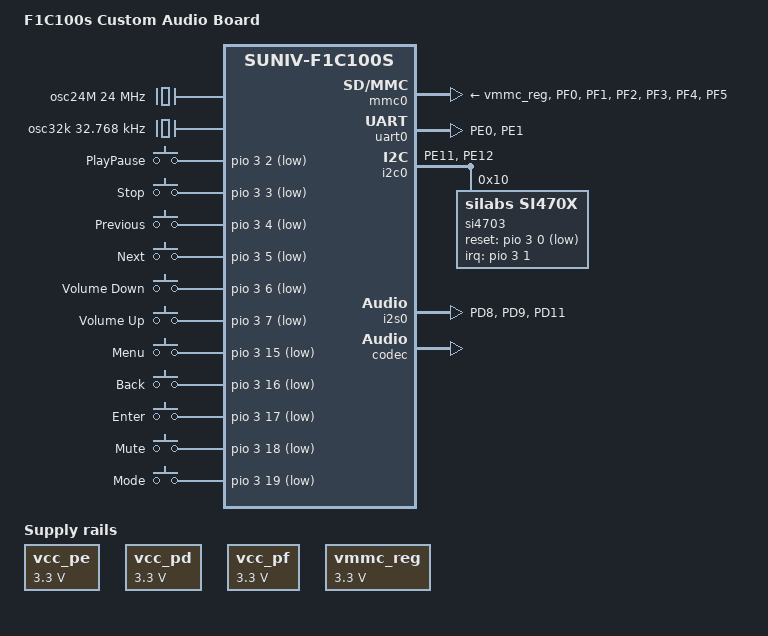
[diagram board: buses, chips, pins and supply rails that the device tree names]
/dts-v1/;
#include <dt-bindings/gpio/gpio.h>
#include <dt-bindings/input/input.h>
#include <dt-bindings/interrupt-controller/irq.h>
#include <dt-bindings/clock/suniv-ccu-f1c100s.h>
#include <dt-bindings/reset/suniv-ccu-f1c100s.h>
#include <dt-bindings/dma/sun4i-a10.h>


/ {
	model = "F1C100s Custom Audio Board";
	compatible = "custom,audio-board", "allwinner,suniv-f1c100s";
	#address-cells = <1>;
	#size-cells = <1>;
	interrupt-parent = <&intc>;

	aliases {
		serial0 = &uart0;
		i2c0 = &i2c0;
	};

	chosen {
		stdout-path = "serial0:115200n8";
	};

	clocks {
		osc24M: clk-24M {
			#clock-cells = <0>;
			compatible = "fixed-clock";
			clock-frequency = <24000000>;
			clock-output-names = "osc24M";
		};

		osc32k: clk-32k {
			#clock-cells = <0>;
			compatible = "fixed-clock";
			clock-frequency = <32768>;
			clock-output-names = "osc32k";
		};
	};

	cpus {
		#address-cells = <1>;
		#size-cells = <0>;

		cpu@0 {
			compatible = "arm,arm926ej-s";
			device_type = "cpu";
			reg = <0x0>;
		};
	};

	vcc_pe: vcc-pe-regulator {
		compatible = "regulator-fixed";
		regulator-name = "vcc-pe";
		regulator-min-microvolt = <3300000>;
		regulator-max-microvolt = <3300000>;
		regulator-always-on;
	};

	vcc_pd: vcc-pd-regulator {
		compatible = "regulator-fixed";
		regulator-name = "vcc-pd";
		regulator-min-microvolt = <3300000>;
		regulator-max-microvolt = <3300000>;
		regulator-always-on;
	};

	vcc_pf: vcc-pf-regulator {
		compatible = "regulator-fixed";
		regulator-name = "vcc-pf";
		regulator-min-microvolt = <3300000>;
		regulator-max-microvolt = <3300000>;
		regulator-always-on;
	};

	vmmc_reg: vmmc-supply {
		compatible = "regulator-fixed";
		regulator-name = "vmmc";
		regulator-min-microvolt = <3300000>; /* or 1800000 if card uses 1.8V */
		regulator-max-microvolt = <3300000>;
		regulator-always-on;
	};




	max98357a: max98357a {
		compatible = "maxim,max98357a";
		#sound-dai-cells = <0>;
	};

	
	sound {
    	compatible = "simple-audio-card";
    	simple-audio-card,name = "F1C100s-MAX98357A";
    	simple-audio-card,format = "i2s";
	
    	simple-audio-card,bitclock-master = <&i2s0>;
    	simple-audio-card,frame-master = <&i2s0>;
	
    	simple-audio-card,widgets =
    	    "Speaker", "External Speaker";
	
    	simple-audio-card,routing =
    	    "External Speaker", "Speaker";
	
    	simple-audio-card,cpu {
    	    sound-dai = <&i2s0>;
    	};
	
    	simple-audio-card,codec {
    	    sound-dai = <&max98357a>;
    	};
	};


	
	gpio_keys {
		compatible = "gpio-keys";
		pinctrl-names = "default";
		autorepeat;

		/* B1 - Play/Pause - PD2 */
		button_play {
			label = "PlayPause";
			linux,code = <1>;
			gpios = <&pio 3 2 GPIO_ACTIVE_LOW>; /* Bank 3 (PD) Pin 2 */
			wakeup-source;
		};

		/* B2 - Stop - PD3 */
		button_stop {
			label = "Stop";
			linux,code = <2>;
			gpios = <&pio 3 3 GPIO_ACTIVE_LOW>;
		};

		/* B3 - Previous - PD4 */
		button_prev {
			label = "Previous";
			linux,code = <3>;
			gpios = <&pio 3 4 GPIO_ACTIVE_LOW>;
		};

		/* B4 - Next - PD5 */
		button_next {
			label = "Next";
			linux,code = <4>;
			gpios = <&pio 3 5 GPIO_ACTIVE_LOW>;
		};

		/* B5 - Volume Down - PD6 */
		button_voldn {
			label = "Volume Down";
			linux,code = <5>;
			gpios = <&pio 3 6 GPIO_ACTIVE_LOW>;
		};

		/* B6 - Volume Up - PD7 */
		button_volup {
			label = "Volume Up";
			linux,code = <6>;
			gpios = <&pio 3 7 GPIO_ACTIVE_LOW>;
		};

		/* B7 - Menu - PD15 */
		button_menu {
			label = "Menu";
			linux,code = <7>;
			gpios = <&pio 3 15 GPIO_ACTIVE_LOW>;
		};

		/* B8 - Back - PD16 */
		button_back {
			label = "Back";
			linux,code = <8>;
			gpios = <&pio 3 16 GPIO_ACTIVE_LOW>;
		};

		/* B9 - Enter - PD17 */
		button_enter {
			label = "Enter";
			linux,code = <9>;
			gpios = <&pio 3 17 GPIO_ACTIVE_LOW>;
		};

		/* B10 - Mute - PD18 */
		button_mute {
			label = "Mute";
			linux,code = <10>;
			gpios = <&pio 3 18 GPIO_ACTIVE_LOW>;
		};

		/* B11 - Mode - PD19 */
		button_mode {
			label = "Mode";
			linux,code = <11>;
			gpios = <&pio 3 19 GPIO_ACTIVE_LOW>;
		};
	};

	soc {
		compatible = "simple-bus";
		#address-cells = <1>;
		#size-cells = <1>;
		ranges;

		sram-controller@1c00000 {
			compatible = "allwinner,suniv-f1c100s-system-control",
				     "allwinner,sun4i-a10-system-control";
			reg = <0x01c00000 0x30>;
			#address-cells = <1>;
			#size-cells = <1>;
			ranges;

			sram_d: sram@10000 {
				compatible = "mmio-sram";
				reg = <0x00010000 0x1000>;
				#address-cells = <1>;
				#size-cells = <1>;
				ranges = <0 0x00010000 0x1000>;

				otg_sram: sram-section@0 {
					compatible = "allwinner,suniv-f1c100s-sram-d",
						     "allwinner,sun4i-a10-sram-d";
					reg = <0x0000 0x1000>;
					status = "disabled";
				};
			};
		};


		mmc0: mmc@1c0f000 {
			compatible = "allwinner,suniv-f1c100s-mmc",
				     "allwinner,sun7i-a20-mmc";
			reg = <0x01c0f000 0x1000>;
			clocks = <&ccu CLK_BUS_MMC0>,
				 <&ccu CLK_MMC0>,
				 <&ccu CLK_MMC0_OUTPUT>,
				 <&ccu CLK_MMC0_SAMPLE>;
			clock-names = "ahb", "mmc", "output", "sample";
			resets = <&ccu RST_BUS_MMC0>;
			reset-names = "ahb";
			interrupts = <23>;
			pinctrl-names = "default";
			pinctrl-0 = <&mmc0_pins>;
			status = "okay";

			vmmc-supply = <&vmmc_reg>;
			vqmmc-supply = <&vmmc_reg>;
			#address-cells = <1>;
			#size-cells = <0>;
		};

		intc: interrupt-controller@1c20400 {
			compatible = "allwinner,suniv-f1c100s-ic";
			reg = <0x01c20400 0x400>;
			interrupt-controller;
			#interrupt-cells = <1>;
		};

		ccu: clock@1c20000 {
			compatible = "allwinner,suniv-f1c100s-ccu";
			reg = <0x01c20000 0x400>;
			clocks = <&osc24M>, <&osc32k>;
			clock-names = "hosc", "losc";
			#clock-cells = <1>;
			#reset-cells = <1>;
		};

		pio: pinctrl@1c20800 {
			compatible = "allwinner,suniv-f1c100s-pinctrl";
			reg = <0x01c20800 0x400>;
			interrupts = <38>, <39>, <40>;
			clocks = <&ccu CLK_BUS_PIO>, <&osc24M>, <&osc32k>;
			clock-names = "apb", "hosc", "losc";
			gpio-controller;
			interrupt-controller;
			#interrupt-cells = <3>;
			#gpio-cells = <3>;

			mmc0_pins: mmc0-pins {
				pins = "PF0", "PF1", "PF2", "PF3", "PF4", "PF5";
				function = "mmc0";
				drive-strength = <30>;
			};

			uart0_pe_pins: uart0-pe-pins {
				pins = "PE0", "PE1";
				function = "uart0";
			};

			i2c0_pe_pins: i2c0-pe-pins {
				pins = "PE11", "PE12";
				function = "i2c0";
				bias-pull-up;
			};

			i2s0_pd_pins: i2s0-pd-pins {
				pins = "PD8", "PD9", "PD11";
				function = "i2s";
			};

			
		};

		uart0: serial@1c25000 {
			compatible = "snps,dw-apb-uart";
			reg = <0x01c25000 0x400>;
			interrupts = <1>;
			reg-shift = <2>;
			reg-io-width = <4>;
			clocks = <&ccu CLK_BUS_UART0>;
			resets = <&ccu RST_BUS_UART0>;
			pinctrl-names = "default";
			pinctrl-0 = <&uart0_pe_pins>; 
			status = "okay";
		};



		i2c0: i2c@1c27000 {
			compatible = "allwinner,suniv-f1c100s-i2c", "allwinner,sun6i-a31-i2c";
			reg = <0x01c27000 0x400>;
			interrupts = <7>;
			clocks = <&ccu CLK_BUS_I2C0>;
			resets = <&ccu RST_BUS_I2C0>;
			status = "okay";
			pinctrl-names = "default";
			pinctrl-0 = <&i2c0_pe_pins>;

			si4703: fm-radio@10 {
				compatible = "silabs,si470x";
				reg = <0x10>;
				reset-gpios = <&pio 3 0 GPIO_ACTIVE_LOW>; /* PD0 */
				interrupt-parent = <&pio>;
				interrupts = <3 1 IRQ_TYPE_EDGE_FALLING>; /* Bank 3 (PD) Pin 1 */
			};
		};

		i2s0: i2s@1c22000 {
			compatible = "allwinner,sun6i-a31-i2s", "allwinner,suniv-f1c100s-i2s", "allwinner,sun4i-a10-i2s";
			#sound-dai-cells = <0>;
			reg = <0x01c22000 0x400>;
			interrupts = <35>;
			clocks = <&ccu CLK_BUS_I2S0>, <&ccu CLK_I2S>;
			clock-names = "apb", "mod";
			resets = <&ccu RST_BUS_I2S0>;
			dmas = <&dma SUN4I_DMA_NORMAL 0x0e>,
					 <&dma SUN4I_DMA_NORMAL 0x0e>;
			dma-names = "rx", "tx";
			status = "okay";
			pinctrl-names = "default";
			pinctrl-0 = <&i2s0_pd_pins>;
		};

		timer@1c20c00 {
			compatible = "allwinner,suniv-f1c100s-timer";
			reg = <0x01c20c00 0x90>;
			interrupts = <13>, <14>, <15>;
			clocks = <&osc24M>;
		};

		wdt: watchdog@1c20ca0 {
			compatible = "allwinner,suniv-f1c100s-wdt",
				     "allwinner,sun6i-a31-wdt";
			reg = <0x01c20ca0 0x20>;
			interrupts = <16>;
			clocks = <&osc32k>;
		};


		dma: dma-controller@1c02000 {
			compatible = "allwinner,suniv-f1c100s-dma";
			reg = <0x01c02000 0x1000>;
			interrupts = <18>;
			clocks = <&ccu CLK_BUS_DMA>;
			resets = <&ccu RST_BUS_DMA>;
			#dma-cells = <2>;
		};

		codec: codec@1c23c00 {
			#sound-dai-cells = <0>;
			compatible = "allwinner,suniv-f1c100s-codec";
			reg = <0x01c23c00 0x400>;
			interrupts = <21>;
			clocks = <&ccu CLK_BUS_CODEC>, <&ccu CLK_CODEC>;
			clock-names = "apb", "codec";
			dmas = <&dma SUN4I_DMA_NORMAL 12>,
			       <&dma SUN4I_DMA_NORMAL 12>;
			dma-names = "rx", "tx";
			resets = <&ccu RST_BUS_CODEC>;
			status = "okay";
		};

	};
};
